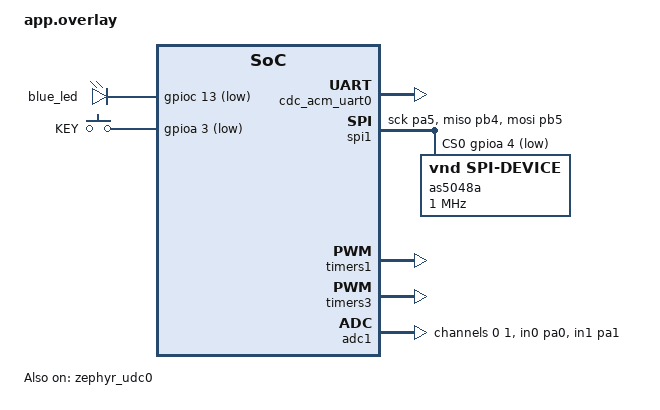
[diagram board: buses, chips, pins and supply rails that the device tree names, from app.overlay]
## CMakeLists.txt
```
cmake_minimum_required(VERSION 3.20.0)
find_package(Zephyr REQUIRED HINTS $ENV{ZEPHYR_BASE})
project(blinky_blackpill)

target_sources(app PRIVATE 
    src/main.c
    src/haptic.c
    src/drivers/as5048a.c
    src/drivers/bldc_driver_6pwm.c
    src/drivers/bldc_motor.c
    src/drivers/low_side_cs.c
)
```

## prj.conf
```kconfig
# Základní ovladače
CONFIG_GPIO=y
CONFIG_SPI=y
CONFIG_PWM=y
CONFIG_ADC=y

# USB Stack (Základ)
CONFIG_USB_DEVICE_STACK=y
CONFIG_USB_DEVICE_PRODUCT="Blackpill Haptika"

# TOTO CHYBĚLO: Ovladač pro virtuální sériový port přes USB
CONFIG_USB_CDC_ACM=y

# Nastavení konzole
CONFIG_SERIAL=y
CONFIG_CONSOLE=y
CONFIG_UART_CONSOLE=y
CONFIG_UART_LINE_CTRL=n  # DTR cekani vypnuto — motor startuje bez otevreneho serioveho monitoru

# CMSIS DSP for ARM math library
CONFIG_CMSIS_DSP=y
CONFIG_CMSIS_DSP_FASTMATH=y

# Printk support
CONFIG_PRINTK=y
CONFIG_CBPRINTF_FP_SUPPORT=y

# FPU Support - Hardware Floating Point Unit
CONFIG_FPU=y
CONFIG_FP_HARDABI=y

# Enable logging
CONFIG_LOG=y

# System tick rate must be >= FOC loop frequency (10 kHz)
CONFIG_SYS_CLOCK_TICKS_PER_SEC=10000

# Main thread stack — haptic_init + FOC cal potrebuji hodne zasobniku
CONFIG_MAIN_STACK_SIZE=8192

# Fault diagnostika — vypise registry pri hard faultu
CONFIG_FAULT_DUMP=2
```

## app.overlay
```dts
/ {
	/* Toto propojí výpisy printk s USB portem */
	chosen {
		zephyr,console = &cdc_acm_uart0;
	};

	/* Definice LED na desce pro kontrolu */
	leds {
		compatible = "gpio-leds";
		blue_led: led_0 {
			gpios = <&gpioc 13 GPIO_ACTIVE_LOW>;
		};
	};

	/*
	 * Tlacitko KEY na BlackPill je na PA0 — stejny pin jako ADC1_IN0 (proud Ic).
	 * STM32F4 v analog modu vraci IDR=0 vzdy → GPIO read nefunguje.
	 * Presun sw0 na PA3 (volny pin, neni pouzit ADC, SPI, PWM).
	 * Pripoj fyzicke tlacitko: PA3 → GND (PULL_UP zajisti klidovy stav = 1).
	 */
	gpio_keys {
		compatible = "gpio-keys";
		user_button: button {
			label = "KEY";
			gpios = <&gpioa 3 (GPIO_ACTIVE_LOW | GPIO_PULL_UP)>;
			zephyr,code = <11>;
		};
	};

	aliases {
		led0 = &blue_led;
		sw0 = &user_button;
	};
};

/* Aktivace USB CDC ACM (virtuální sériový port) */
&zephyr_udc0 {
	status = "okay";
	cdc_acm_uart0: cdc_acm_uart0 {
		compatible = "zephyr,cdc-acm-uart";
	};
};

/* SPI1 pro senzor AS5048A */
&spi1 {
	status = "okay";
	pinctrl-0 = <&spi1_sck_pa5 &spi1_miso_pb4 &spi1_mosi_pb5>;
	pinctrl-names = "default";
	cs-gpios = <&gpioa 4 GPIO_ACTIVE_LOW>;

	as5048a: as5048a@0 {
		compatible = "vnd,spi-device";
		reg = <0>;
		spi-max-frequency = <1000000>;
	};
};

/* PWM pro řízení BLDC motoru přes TMC6300 */
/* TMC6300 potřebuje 6 nezávislých PWM signálů (UH, UL, VH, VL, WH, WL) */
/* TIM1 pro všechny Low side, TIM3 pro všechny High side */

/* TIM1: UL (CH1/PA8), VL (CH2/PA9), WL (CH3/PA10) */
&timers1 {
	status = "okay";
	pwm_low: pwm {
		status = "okay";
		pinctrl-0 = <&tim1_ch1_pa8 &tim1_ch2_pa9 &tim1_ch3_pa10>;
		pinctrl-names = "default";
	};
};

/* TIM3: UH (CH2/PA7), VH (CH3/PB0), WH (CH4/PB1) */
&timers3 {
	status = "okay";
	pwm_high: pwm {
		status = "okay";
		pinctrl-0 = <&tim3_ch2_pa7 &tim3_ch3_pb0 &tim3_ch4_pb1>;
		pinctrl-names = "default";
	};
};

/* ADC1: PA0 = faze W, PA1 = faze U+V */
&adc1 {
	status = "okay";
	pinctrl-0 = <&adc1_in0_pa0 &adc1_in1_pa1>;
	pinctrl-names = "default";
	#address-cells = <1>;
	#size-cells = <0>;

	channel@0 {
		reg = <0>;
		zephyr,gain = "ADC_GAIN_1";
		zephyr,reference = "ADC_REF_INTERNAL";
		zephyr,acquisition-time = <ADC_ACQ_TIME_DEFAULT>;
		zephyr,resolution = <12>;
	};

	channel@1 {
		reg = <1>;
		zephyr,gain = "ADC_GAIN_1";
		zephyr,reference = "ADC_REF_INTERNAL";
		zephyr,acquisition-time = <ADC_ACQ_TIME_DEFAULT>;
		zephyr,resolution = <12>;
	};
};
```

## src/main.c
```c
#include <zephyr/kernel.h>
#include <zephyr/usb/usb_device.h>
#include <zephyr/drivers/uart.h>
#include <zephyr/drivers/gpio.h>
#include "haptic.h"
#include "drivers/as5048a.h"

/* Fault handler — blika SOS na LED kdyz MCU crashne.
 * Zakomentovano: Zephyr default handler (CONFIG_FAULT_DUMP=2) vypise registry
 * CPU na serial a pak system zastavi — postacuje pro debug.
 * Pro vizualni indikaci crashe bez serioveho monitoru odkomentuj. */
/*
void k_sys_fatal_error_handler(unsigned int reason, const struct arch_esf *esf)
{
	ARG_UNUSED(esf);
	printk("\n!!! FATAL ERROR reason=%u !!!\n", reason);
	const struct gpio_dt_spec fault_led = GPIO_DT_SPEC_GET(DT_ALIAS(led0), gpios);
	if (gpio_is_ready_dt(&fault_led)) {
		gpio_pin_configure_dt(&fault_led, GPIO_OUTPUT_ACTIVE);
		while (1) {
			for (int i = 0; i < 3; i++) {
				gpio_pin_set_dt(&fault_led, 1); k_busy_wait(150000);
				gpio_pin_set_dt(&fault_led, 0); k_busy_wait(150000);
			}
			for (int i = 0; i < 3; i++) {
				gpio_pin_set_dt(&fault_led, 1); k_busy_wait(500000);
				gpio_pin_set_dt(&fault_led, 0); k_busy_wait(150000);
			}
			for (int i = 0; i < 3; i++) {
				gpio_pin_set_dt(&fault_led, 1); k_busy_wait(150000);
				gpio_pin_set_dt(&fault_led, 0); k_busy_wait(150000);
			}
			k_busy_wait(1000000);
		}
	}
	CODE_UNREACHABLE;
}
*/

/* Device instances */
static struct as5048a_device encoder;
static bldc_driver_6pwm_t driver;
static bldc_motor_t motor;

/* Global pointer for sensor wrapper */
struct as5048a_device *g_as5048a = &encoder;

int main(void)
{
	int ret;

	/* Diagnostika: blikneme LED hned na startu — overime ze main() bezi */
	const struct gpio_dt_spec led = GPIO_DT_SPEC_GET(DT_ALIAS(led0), gpios);
	if (gpio_is_ready_dt(&led)) {
		gpio_pin_configure_dt(&led, GPIO_OUTPUT_ACTIVE);
		for (int i = 0; i < 6; i++) {
			gpio_pin_toggle_dt(&led);
			k_msleep(100);
		}
	}

	/* Enable USB device */
	ret = usb_enable(NULL);
	if (ret != 0) {
		/* Blink fast = usb_enable failed */
		for (int i = 0; i < 20; i++) {
			gpio_pin_toggle_dt(&led);
			k_msleep(50);
		}
		return -1;
	}

	/* DTR cekani a debug sekvence zakomentovany — motor startuje okamzite.
	 * Pro debug: odkomentuj blok nize a nastav CONFIG_UART_LINE_CTRL=y.   */
	/*
	const struct device *cdc = DEVICE_DT_GET(DT_NODELABEL(cdc_acm_uart0));
	if (device_is_ready(cdc)) {
		uint32_t dtr = 0;
		while (!dtr) {
			uart_line_ctrl_get(cdc, UART_LINE_CTRL_DTR, &dtr);
			gpio_pin_toggle_dt(&led);
			k_msleep(200);
		}
	}
	gpio_pin_set_dt(&led, 1);
	k_msleep(500);
	printk("\n\n=== main() USB ready, starting haptic_init ===\n");
	k_msleep(100);
	for (int i = 1; i <= 5; i++) {
		printk("Serial check %d/5\n", i);
		k_msleep(300);
	}
	k_msleep(500);
	printk("--- calling haptic_init ---\n");
	k_msleep(200);
	*/

	haptic_init(&motor, (bldc_driver_t*)&driver, (sensor_t*)&encoder);

	/* haptic_loop is now driven by a 10 kHz timer thread in haptic.c */
	while (1) {
		k_sleep(K_FOREVER);
	}
}
```

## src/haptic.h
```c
#ifndef HAPTIC_H
#define HAPTIC_H

#include <stdint.h>
#include <stdbool.h>
#include "drivers/bldc_motor.h"
#include "drivers/bldc_driver_6pwm.h"

int haptic_init(bldc_motor_t *motor, bldc_driver_t *driver, sensor_t *encoder);
void haptic_loop(bldc_motor_t *motor);
int haptic_update_num_steps_from_button(void);



#endif /* HAPTIC_H */
```
